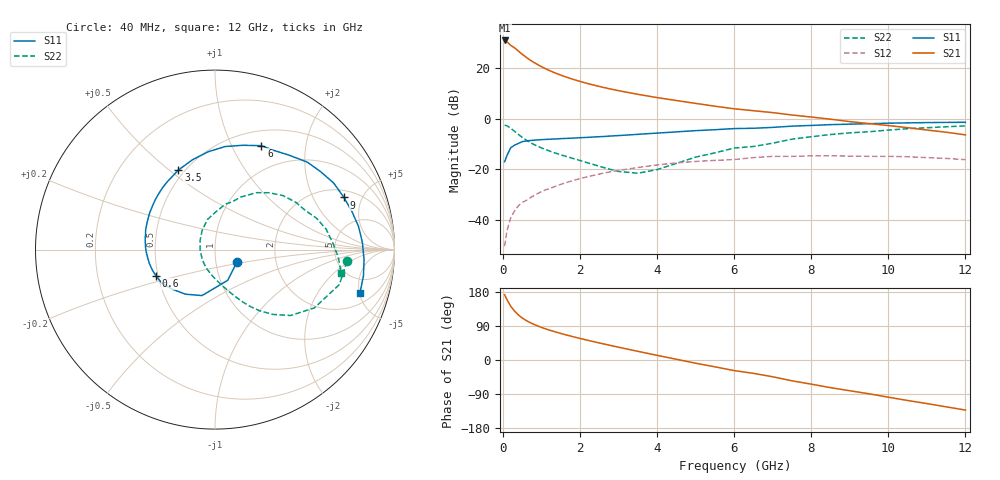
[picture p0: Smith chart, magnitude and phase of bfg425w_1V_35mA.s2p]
! Filename: 135bfg425.001
! BFG425W Field C1
! V1=8.936E-001V,V2=1.000E+000V, I1=5.768E-004A, I2=3.501E-002A
# GHz  S  MA  R 50
!  S11  S21  S12  S22
!Freq(GHz)  Mag  Ang  Mag  Ang  Mag  Ang  Mag  Ang
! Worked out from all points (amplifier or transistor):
!   44 points, 40 MHz to 12 GHz, reference 50 ohm
!   highest |S21| = 30.9 dB at 40 MHz (marker M1)
!   |S21| within 3 dB of that: start of sweep to 305.4 MHz
!   unconditionally stable (mu >= 1): start of sweep to 146.4 MHz; 570.2 MHz to end of sweep
!   at 700 MHz: K = 1.07, MAG = 25.7 dB, |S12| = -31.4 dB
!   at 2.4 GHz: K = 1.30, MAG = 14.4 dB, |S12| = -22.3 dB
!   at 12 GHz: K = 1.47, MAG = 0.8 dB, |S12| = -16.2 dB
!   S11 on the Smith chart (normalised r, x): 40 MHz: 1.26, -0.18; 600 MHz: 0.49, -0.16; 3.5 GHz: 0.46, +0.54; 6 GHz: 0.68, +1.31; 9 GHz: 2.44, +3.55; 12 GHz: 3.05, -5.08
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0.04  0.14 -29.8  35 172.1  0.003 68.4  0.738 -5.1
0.1  0.185 -67.3  33.02 159.7  0.006 76.4  0.72 -15.7
0.2  0.266 -105.7  27.93 141.5  0.011 69.7  0.642 -30.4
0.3  0.298 -123.5  24.98 128.9  0.015 65.6  0.559 -41.1
0.4  0.324 -137.0  21.5 118.7  0.019 63.4  0.484 -48.3
0.5  0.35 -147.9  18.61 110.6  0.022 61.9  0.423 -53.8
0.6  0.36 -156.0  16.29 104.2  0.024 61.1  0.376 -57.9
0.7  0.368 -162.6  14.38 98.8  0.027 60.4  0.338 -61.3
0.8  0.374 -168.3  12.87 94.0  0.03 59.9  0.307 -64.2
1.1  0.387 178.2  9.688 82.3  0.039 58.0  0.245 -71.7
1.3  0.394 171.0  8.275 75.8  0.044 56.4  0.215 -76.5
1.6  0.404 161.5  6.774 67.2  0.053 53.5  0.182 -83.8
2.2  0.425 145.0  4.914 52.0  0.071 46.2  0.133 -102.2
2.8  0.452 130.3  3.827 38.1  0.089 37.7  0.098 -129.2
3.5  0.488 114.7  3.013 22.8  0.108 27.0  0.083 -177.1
4.5  0.546 94.2  2.271 1.9  0.133 10.8  0.13 123.1
6  0.634 66.0  1.56 -28.0  0.155 -14.1  0.261 76.9
6.5  0.643 59.1  1.43 -35.2  0.169 -18.8  0.281 70.6
8.5  0.758 29.3  0.971 -73.0  0.184 -54.3  0.484 38.4
9  0.775 22.0  0.871 -81.1  0.181 -62.0  0.522 30.3
10.5  0.822 2.8  0.661 -106.8  0.176 -86.8  0.63 10.4
12  0.843 -16.6  0.476 -132.1  0.154 -113.8  0.716 -10.7
